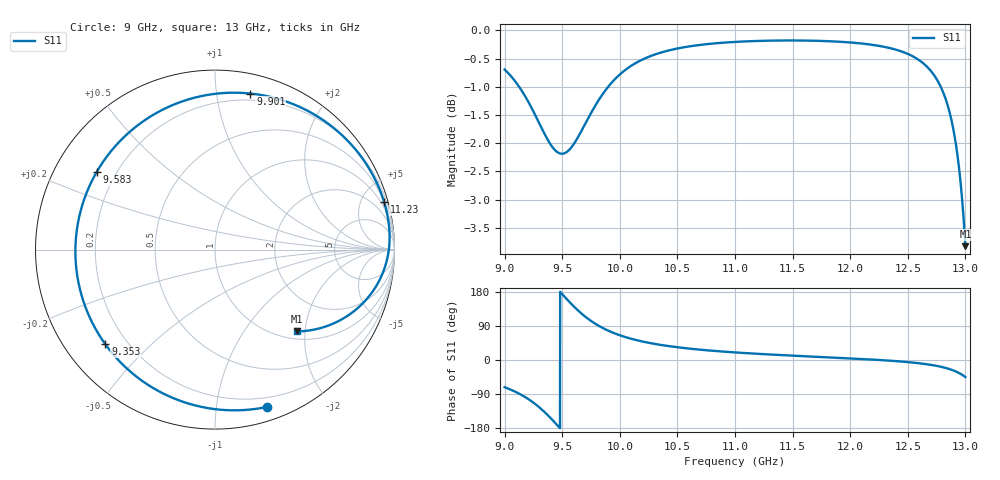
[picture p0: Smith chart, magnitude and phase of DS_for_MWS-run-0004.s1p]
! TOUCHSTONE file generated by CST DESIGN STUDIO
! Date and time: Tue Feb  4 16:08:40 2025
! Project name: C:\Work\MatlabApps\UnitCellOptimizationMatlab\CST\unitcell.cst
! Tree item: Tasks\Sweep1\SPara1\S-Parameters
! Header version: 2024
! Port assignment regex: !\s*Touchstone port\s*([0-9]+)\s*=\s*(CST MWS port|CST DES external port|CST DES block port)\s*(.+)\s* \(\"(.*)\"\)(\s*mode\s*([0-9]+))?.*
! Touchstone port assignment:
! Touchstone port 1 = CST DES external port 1 ("")
# GHz S MA R 50
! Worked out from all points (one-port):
!   4001 points, 9 GHz to 13 GHz, reference 50 ohm
!   lowest |S11| = -3.8 dB at 13 GHz (marker M1), VSWR 4.61, Z = 57.9 - j90.2 ohm
!   |S11| at or under -10 dB: nowhere
!   S11 on the Smith chart (normalised r, x): 9 GHz: 0.12, -1.38; 9.353 GHz: 0.12, -0.37; 9.583 GHz: 0.13, +0.29; 9.901 GHz: 0.15, +1.24; 11.23 GHz: 0.58, +7.23; 13 GHz: 1.16, -1.80
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9  0.9231 -71.8
9.113  0.8951 -86.7
9.201  0.866 -102.2
9.279  0.8359 -119.4
9.353  0.8072 -139.1
9.43  0.7846 -163.0
9.5  0.7774 173.8
9.54  0.7802 160.5
9.583  0.7883 146.8
9.654  0.8098 126.1
9.726  0.8359 108.3
9.806  0.8638 92.2
9.901  0.8916 77.2
10  0.9138 65.3
10.102  0.9306 55.8
10.216  0.9441 47.6
10.347  0.9549 40.2
10.5  0.9635 33.7
10.722  0.9713 26.5
11  0.9766 20.0
11.234  0.9787 15.7
11.5  0.9795 11.5
12  0.9755 4.2
12.5  0.953 -5.5
12.69  0.923 -12.3
12.82  0.8742 -20.2
12.913  0.7981 -29.7
13  0.6438 -45.1
